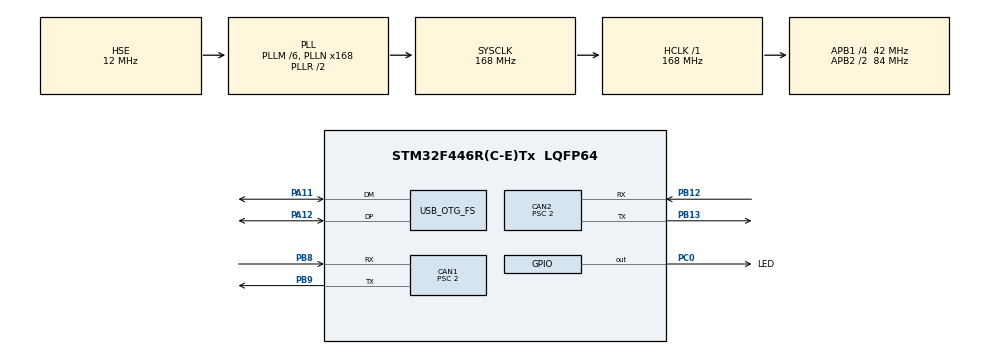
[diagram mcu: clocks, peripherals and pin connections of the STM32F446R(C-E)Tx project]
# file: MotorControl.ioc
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CAN1.BS1=CAN_BS1_15TQ
CAN1.BS2=CAN_BS2_5TQ
CAN1.CalculateBaudRate=1000000
CAN1.CalculateTimeBit=1000
CAN1.CalculateTimeQuantum=47.61904761904762
CAN1.Prescaler=2
CAN2.BS1=CAN_BS1_15TQ
CAN2.BS2=CAN_BS2_5TQ
CAN2.CalculateBaudRate=1000000
CAN2.CalculateTimeBit=1000
CAN2.CalculateTimeQuantum=47.61904761904762
CAN2.Prescaler=2
Mcu.Family=STM32F4
Mcu.Name=STM32F446R(C-E)Tx
Mcu.Package=LQFP64
NVIC.CAN1_RX0_IRQn=true\:0\:0\:false\:false\:true\:true\:true\:true
NVIC.CAN2_RX0_IRQn=true\:0\:0\:false\:false\:true\:true\:true\:true
NVIC.OTG_FS_IRQn=true\:0\:0\:false\:false\:true\:true\:true\:true
NVIC.PriorityGroup=NVIC_PRIORITYGROUP_4
PA11.Mode=Device_Only
PA11.Signal=USB_OTG_FS_DM
PA12.Mode=Device_Only
PA12.Signal=USB_OTG_FS_DP
PA13.Mode=Serial_Wire
PA13.Signal=SYS_JTMS-SWDIO
PA14.Mode=Serial_Wire
PA14.Signal=SYS_JTCK-SWCLK
PB12.Mode=CAN_Activate
PB12.Signal=CAN2_RX
PB13.Mode=CAN_Activate
PB13.Signal=CAN2_TX
PB8.Mode=CAN_Activate
PB8.Signal=CAN1_RX
PB9.Mode=CAN_Activate
PB9.Signal=CAN1_TX
PC0.GPIO_Label=LED
PC0.Signal=GPIO_Output
PH0-OSC_IN.Mode=HSE-External-Oscillator
PH0-OSC_IN.Signal=RCC_OSC_IN
PH1-OSC_OUT.Mode=HSE-External-Oscillator
PH1-OSC_OUT.Signal=RCC_OSC_OUT
ProjectManager.HeapSize=0x200
ProjectManager.StackSize=0x400
ProjectManager.TargetToolchain=MDK-ARM V5.32
RCC.AHBFreq_Value=168000000
RCC.APB1CLKDivider=RCC_HCLK_DIV4
RCC.APB1Freq_Value=42000000
RCC.APB1TimFreq_Value=84000000
RCC.APB2CLKDivider=RCC_HCLK_DIV2
RCC.APB2Freq_Value=84000000
RCC.APB2TimFreq_Value=168000000
RCC.CortexFreq_Value=168000000
RCC.HCLKFreq_Value=168000000
RCC.HSE_VALUE=12000000
RCC.PLLM=6
RCC.PLLN=168
RCC.PLLQ=7
RCC.PLLSAIM=6
RCC.PLLSAIN=96
RCC.PLLSAIP=RCC_PLLSAIP_DIV4
RCC.PLLSourceVirtual=RCC_PLLSOURCE_HSE
RCC.SYSCLKFreq_VALUE=168000000
RCC.SYSCLKSource=RCC_SYSCLKSOURCE_PLLRCLK
RCC.USBFreq_Value=48000000
RCC.VCOOutputFreq_Value=336000000
USB_DEVICE.CLASS_NAME_FS=CDC
USB_DEVICE.VirtualMode-CDC_FS=Cdc
USB_DEVICE.VirtualModeFS=Cdc_FS
USB_OTG_FS.VirtualMode=Device_Only
VP_USB_DEVICE_VS_USB_DEVICE_CDC_FS.Mode=CDC_FS
board=custom

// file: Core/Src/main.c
/* USER CODE BEGIN Header */
/**
  ******************************************************************************
  * @file           : main.c
  * @brief          : Main program body
  ******************************************************************************
  * @attention
  *
  * Copyright (c) 2023 STMicroelectronics.
  * All rights reserved.
  *
  * This software is licensed under terms that can be found in the LICENSE file
  * in the root directory of this software component.
  * If no LICENSE file comes with this software, it is provided AS-IS.
  *
  ******************************************************************************
  */
/* USER CODE END Header */
#include "main.h"
#include "can.h"
#include "usb_device.h"
#include "gpio.h"

/* USER CODE BEGIN Includes */
#include "usbd_cdc_if.h"
#include "bsp_dm4310.h"
/* USER CODE END Includes */

/* USER CODE BEGIN PV */
volatile char cdc_receive = 0;
volatile char can_receive = 0;

uint8_t cdc_data[16];
int cdc_len = 0;
uint8_t can_data[16];
int can_len = 0;

CAN_TxHeaderTypeDef can_tx;
uint32_t can_tx_mailbox = 0;

CAN_RxHeaderTypeDef can_rx;
uint32_t can_rx_mailbox = 0;
/* USER CODE END PV */

void SystemClock_Config(void);

/* USER CODE BEGIN 0 */
Motor_MIT_Data_t dm43_mit_t;
/* USER CODE END 0 */

int main(void)
{

  /* MCU Configuration--------------------------------------------------------*/

  /* Reset of all peripherals, Initializes the Flash interface and the Systick. */
  HAL_Init();

  /* Configure the system clock */
  SystemClock_Config();

  /* Initialize all configured peripherals */
  MX_GPIO_Init();
  MX_CAN1_Init();
  MX_CAN2_Init();
  MX_USB_DEVICE_Init();
  /* USER CODE BEGIN 2 */
	HAL_CAN_Start(&hcan1);
	HAL_CAN_Start(&hcan2);

  // start motor
  can_filter_init();
  HAL_Delay(2000);
  start_motor(&hcan1, 0x01);

	//can_tx.StdId = 0x01;
	//can_tx.ExtId = 0x12;
	//can_tx.IDE = CAN_ID_STD;
	//can_tx.RTR = CAN_RTR_DATA;
	//can_tx.DLC = 8;
  /* USER CODE END 2 */

  /* Infinite loop */
  /* USER CODE BEGIN WHILE */
  dm43_mit_t.kp_int =0.0f;
  dm43_mit_t.kd_int =0.0f;
  dm43_mit_t.v_int =0.0f;
  dm43_mit_t.p_int =0.0f;
  dm43_mit_t.t_int =0.0f;

  while (1)
  {
    /* USER CODE END WHILE */

    /* USER CODE BEGIN 3 */
		if(cdc_receive == 1)
		{
			cdc_receive = 0;

			//CDC_Transmit_FS(Buf, *Len);

			//HAL_CAN_AddTxMessage(&hcan1, &can_tx, cdc_data, &can_tx_mailbox);
			//HAL_CAN_GetRxMessage(&hcan1, CAN_RX_FIFO0, &can_rx, can_data);

			//CDC_Transmit_FS(can_data, can_rx.DLC);

			//HAL_GPIO_TogglePin(GPIOC, GPIO_PIN_0);
		}

    ctrl_motor(&hcan1,1,&dm43_mit_t);

		//HAL_GPIO_TogglePin(GPIOC, GPIO_PIN_0);
    HAL_Delay(100);
  }
  /* USER CODE END 3 */
}

void SystemClock_Config(void)
{
  RCC_OscInitTypeDef RCC_OscInitStruct = {0};
  RCC_ClkInitTypeDef RCC_ClkInitStruct = {0};

  /** Configure the main internal regulator output voltage
  */
  __HAL_RCC_PWR_CLK_ENABLE();
  __HAL_PWR_VOLTAGESCALING_CONFIG(PWR_REGULATOR_VOLTAGE_SCALE1);

  /** Initializes the RCC Oscillators according to the specified parameters
  * in the RCC_OscInitTypeDef structure.
  */
  RCC_OscInitStruct.OscillatorType = RCC_OSCILLATORTYPE_HSE;
  RCC_OscInitStruct.HSEState = RCC_HSE_ON;
  RCC_OscInitStruct.PLL.PLLState = RCC_PLL_ON;
  RCC_OscInitStruct.PLL.PLLSource = RCC_PLLSOURCE_HSE;
  RCC_OscInitStruct.PLL.PLLM = 6;
  RCC_OscInitStruct.PLL.PLLN = 168;
  RCC_OscInitStruct.PLL.PLLP = RCC_PLLP_DIV2;
  RCC_OscInitStruct.PLL.PLLQ = 7;
  RCC_OscInitStruct.PLL.PLLR = 2;
  if (HAL_RCC_OscConfig(&RCC_OscInitStruct) != HAL_OK)
  {
    Error_Handler();
  }

  /** Initializes the CPU, AHB and APB buses clocks
  */
  RCC_ClkInitStruct.ClockType = RCC_CLOCKTYPE_HCLK|RCC_CLOCKTYPE_SYSCLK
                              |RCC_CLOCKTYPE_PCLK1|RCC_CLOCKTYPE_PCLK2;
  RCC_ClkInitStruct.SYSCLKSource = RCC_SYSCLKSOURCE_PLLRCLK;
  RCC_ClkInitStruct.AHBCLKDivider = RCC_SYSCLK_DIV1;
  RCC_ClkInitStruct.APB1CLKDivider = RCC_HCLK_DIV4;
  RCC_ClkInitStruct.APB2CLKDivider = RCC_HCLK_DIV2;

  if (HAL_RCC_ClockConfig(&RCC_ClkInitStruct, FLASH_LATENCY_5) != HAL_OK)
  {
    Error_Handler();
  }
}

void Error_Handler(void)
{
  __disable_irq();
  while (1)
  {
  }
}
